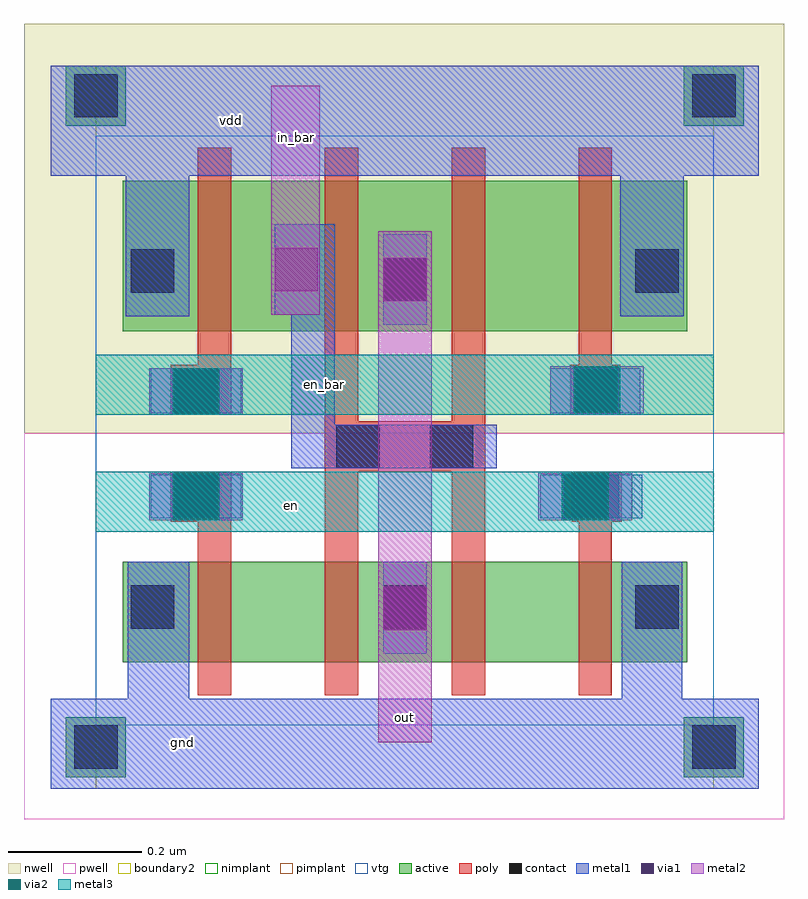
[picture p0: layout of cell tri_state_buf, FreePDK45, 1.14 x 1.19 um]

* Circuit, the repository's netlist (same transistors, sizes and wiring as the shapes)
************************************************************************
* auCdl Netlist:
* 
* Library Name:  openram
* Top Cell Name: tri_state_buf
* View Name:     schematic
* Netlisted on:  Jan 15 05:58:19 2021
************************************************************************

*.EQUATION
*.SCALE METER
*.MEGA
.PARAM



************************************************************************
* Library Name: openram
* Cell Name:    tri_state_buf
* View Name:    schematic
************************************************************************

.SUBCKT tri_state_buf en en_bar gnd in_bar out vdd
MM8 net017 en gnd gnd NMOS_VTG W=150.0n L=50n m=1
MM3 net53 en gnd gnd NMOS_VTG W=150.0n L=50n m=1
MM0 out in_bar net53 gnd NMOS_VTG W=150.0n L=50n m=1
MM10 out in_bar net017 gnd NMOS_VTG W=150.0n L=50n m=1
MM9 out in_bar net018 vdd PMOS_VTG W=225.00n L=50n m=1
MM7 net018 en_bar vdd vdd PMOS_VTG W=225.00n L=50n m=1
MM2 net52 en_bar vdd vdd PMOS_VTG W=225.00n L=50n m=1
MM1 out in_bar net52 vdd PMOS_VTG W=225.00n L=50n m=1
.ENDS

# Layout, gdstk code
from math import pi, radians
import gdstk
lib = gdstk.Library(unit=1e-6, precision=5e-10)
def R(c, l, rs):  # rectangles x0, y0, x1, y1
    for r in rs: c.add(gdstk.rectangle(r[:2], r[2:], *l))
def A(c, l, x, y, w, h, nx, ny, dx, dy):  # array of equal rectangles
    R(c, l, [(x+i*dx, y+j*dy, x+i*dx+w, y+j*dy+h) for i in range(nx) for j in range(ny)])
active = (1, 0)
pwell = (2, 0)
nwell = (3, 0)
nimplant = (4, 0)
pimplant = (5, 0)
vtg = (6, 0)
poly = (9, 0)
contact = (10, 0)
metal1 = (11, 0)
via1 = (12, 0)
metal2 = (13, 0)
via2 = (14, 0)
metal3 = (15, 0)
boundary2 = (239, 0)

m1_poly_cdns_61169932794 = lib.new_cell('M1_POLY_CDNS_611699327940')
R(m1_poly_cdns_61169932794, poly, [(-0.0375,-0.0375,0.0375,0.0375)])
R(m1_poly_cdns_61169932794, contact, [(-0.0325,-0.0325,0.0325,0.0325)])
R(m1_poly_cdns_61169932794, metal1, [(-0.0325,-0.0675,0.0325,0.0675)])

m2_m1_cdns_611699327941 = lib.new_cell('M2_M1_CDNS_611699327941')
R(m2_m1_cdns_611699327941, metal1, [(-0.0325,-0.0675,0.0325,0.0675)])
R(m2_m1_cdns_611699327941, via1, [(-0.0325,-0.0325,0.0325,0.0325)])
R(m2_m1_cdns_611699327941, metal2, [(-0.035,-0.0675,0.035,0.0675)])

m3_m2_cdns_611699327942 = lib.new_cell('M3_M2_CDNS_611699327942')
R(m3_m2_cdns_611699327942, metal2, [(-0.035,-0.07,0.035,0.07)])
R(m3_m2_cdns_611699327942, via2, [(-0.035,-0.035,0.035,0.035)])
R(m3_m2_cdns_611699327942, metal3, [(-0.035,-0.07,0.035,0.07)])

c_m1_poly_cdns_61169932794 = lib.new_cell('M1_POLY_CDNS_611699327943')
R(c_m1_poly_cdns_61169932794, poly, [(-0.0375,-0.1075,0.0375,0.1075)])
R(c_m1_poly_cdns_61169932794, contact, [(-0.0325,-0.1025,0.0325,-0.0375), (-0.0325,0.0375,0.0325,0.1025)])
R(c_m1_poly_cdns_61169932794, metal1, [(-0.0325,-0.1375,0.0325,0.1375)])

tri_state_buf = lib.new_cell('tri_state_buf')
A(tri_state_buf, active, 0.04, 0.2275, 0.09, 0.09, 3, 1, 0.3775, 0)
R(tri_state_buf, active, [(-0.045,0.0175,0.045,0.1075), (0.88,0.0175,0.97,0.1075), (0.04,0.19,0.885,0.34), (0.04,0.685,0.885,0.91), (0.4175,0.7175,0.5075,0.8075), (0.04,0.73,0.13,0.82), (0.795,0.73,0.885,0.82), (-0.045,0.9925,0.045,1.0825), (0.88,0.9925,0.97,1.0825)])
R(tri_state_buf, pwell, [(-0.1075,-0.045,1.03,0.5325)])
R(tri_state_buf, nwell, [(-0.1075,0.5325,1.03,1.145)])
R(tri_state_buf, nimplant, [(0.04,0.19,0.885,0.34), (-0.045,0.9925,0.045,1.0825), (0.88,0.9925,0.97,1.0825)])
R(tri_state_buf, pimplant, [(-0.045,0.0175,0.045,0.1075), (0.88,0.0175,0.97,0.1075), (0.04,0.685,0.885,0.91)])
R(tri_state_buf, vtg, [(0,0.095,0.925,0.9775)])
A(tri_state_buf, poly, 0.3425, 0.6175, 0.05, 0.3425, 3, 1, 0.19, 0)
R(tri_state_buf, poly, [(0.1525,0.14,0.2025,0.475), (0.3425,0.14,0.3925,0.645), (0.5325,0.14,0.5825,0.665), (0.7225,0.14,0.7725,0.4225), (0.1525,0.56,0.2025,0.96)])
A(tri_state_buf, contact, 0.0525, 0.24, 0.065, 0.065, 3, 1, 0.3775, 0)
R(tri_state_buf, contact, [(-0.0325,0.03,0.0325,0.095), (0.8925,0.03,0.9575,0.095), (0.43,0.73,0.495,0.795), (0.0525,0.7425,0.1175,0.8075), (0.8075,0.7425,0.8725,0.8075), (-0.0325,1.005,0.0325,1.07), (0.8925,1.005,0.9575,1.07)])
A(tri_state_buf, metal1, 0.0525, 0.205, 0.065, 0.135, 3, 1, 0.3775, 0)
R(tri_state_buf, metal1, [(-0.0675,0,0.9925,0.135), (0.7875,0.0675,0.8775,0.34), (0.0475,0.11,0.14,0.34), (0.2925,0.48,0.3575,0.845), (0.43,0.695,0.495,0.83), (0.045,0.7075,0.14,0.9925), (0.0525,0.7075,0.1175,0.8425), (0.785,0.7075,0.88,0.9925), (0.8075,0.7075,0.8725,0.8425), (-0.0675,0.9175,0.9925,1.0825)])
R(tri_state_buf, metal2, [(0.4225,0.07,0.5025,0.835), (0.2625,0.71,0.335,1.0525)])
R(tri_state_buf, metal3, [(0,0.385,0.925,0.475), (0,0.56,0.925,0.65)])
R(tri_state_buf, boundary2, [(0,0,0.925,1.0825)])
tri_state_buf.add(gdstk.Reference(m1_poly_cdns_61169932794, (0.75,0.4375), rotation=pi/2))
tri_state_buf.add(gdstk.Reference(m1_poly_cdns_61169932794, (0.15,0.4375), rotation=pi/2))
tri_state_buf.add(gdstk.Reference(m1_poly_cdns_61169932794, (0.15,0.5975), rotation=pi/2))
tri_state_buf.add(gdstk.Reference(m1_poly_cdns_61169932794, (0.7475,0.5975), rotation=pi/2))
tri_state_buf.add(gdstk.Reference(m2_m1_cdns_611699327941, (0.3,0.7775)))
tri_state_buf.add(gdstk.Reference(m2_m1_cdns_611699327941, (0.4625,0.27)))
tri_state_buf.add(gdstk.Reference(m2_m1_cdns_611699327941, (0.4625,0.7625)))
tri_state_buf.add(gdstk.Reference(m2_m1_cdns_611699327941, (0.7475,0.595), rotation=pi/2))
tri_state_buf.add(gdstk.Reference(m2_m1_cdns_611699327941, (0.7325,0.4375), rotation=pi/2))
tri_state_buf.add(gdstk.Reference(m2_m1_cdns_611699327941, (0.15,0.4375), rotation=pi/2))
tri_state_buf.add(gdstk.Reference(m2_m1_cdns_611699327941, (0.15,0.595), rotation=pi/2))
tri_state_buf.add(gdstk.Reference(m3_m2_cdns_611699327942, (0.7325,0.4375), rotation=pi/2))
tri_state_buf.add(gdstk.Reference(m3_m2_cdns_611699327942, (0.15,0.4375), rotation=pi/2))
tri_state_buf.add(gdstk.Reference(m3_m2_cdns_611699327942, (0.15,0.595), rotation=pi/2))
tri_state_buf.add(gdstk.Reference(m3_m2_cdns_611699327942, (0.75,0.5975), rotation=pi/2))
tri_state_buf.add(gdstk.Reference(c_m1_poly_cdns_61169932794, (0.4625,0.5125), rotation=pi/2))
tri_state_buf.add(gdstk.Label('gnd', (0.13,0.07), layer=11, texttype=0))
tri_state_buf.add(gdstk.Label('vdd', (0.2025,1), layer=11, texttype=0))
tri_state_buf.add(gdstk.Label('out', (0.4625,0.1075), layer=13, texttype=0))
tri_state_buf.add(gdstk.Label('in_bar', (0.3,0.975), layer=13, texttype=0))
tri_state_buf.add(gdstk.Label('en', (0.2925,0.425), layer=15, texttype=0))
tri_state_buf.add(gdstk.Label('en_bar', (0.3425,0.605), layer=15, texttype=0))

lib.write_gds('tri_state_buf.gds')
